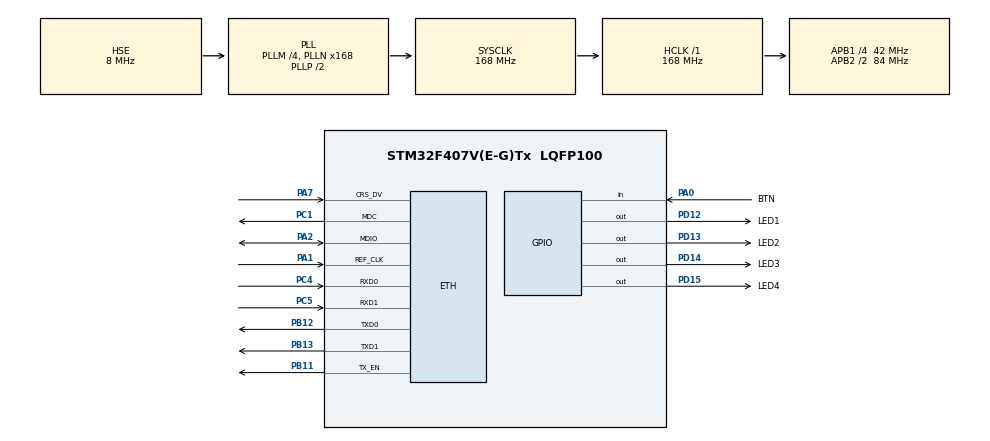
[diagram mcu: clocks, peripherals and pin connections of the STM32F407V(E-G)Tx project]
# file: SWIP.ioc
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ETH.MediaInterface=ETH_MEDIA_INTERFACE_RMII
LWIP.LWIP_NETIF_LINK_CALLBACK=1
LWIP.LWIP_NETIF_STATUS_CALLBACK=1
LWIP.Version=v2.0.0_Cube
Mcu.Family=STM32F4
Mcu.Name=STM32F407V(E-G)Tx
Mcu.Package=LQFP100
NVIC.ETH_IRQn=true\:0\:0\:false\:false\:true\:true
NVIC.PriorityGroup=NVIC_PRIORITYGROUP_4
NVIC.TIM3_IRQn=true\:0\:0\:false\:false\:true\:true
PA0-WKUP.GPIO_Label=BTN
PA0-WKUP.GPIO_PuPd=GPIO_NOPULL
PA0-WKUP.Signal=GPIO_Input
PA1.Mode=RMII
PA1.Signal=ETH_REF_CLK
PA13.Mode=Serial_Wire
PA13.Signal=SYS_JTMS-SWDIO
PA14.Mode=Serial_Wire
PA14.Signal=SYS_JTCK-SWCLK
PA2.Mode=RMII
PA2.Signal=ETH_MDIO
PA7.Mode=RMII
PA7.Signal=ETH_CRS_DV
PB11.Mode=RMII
PB11.Signal=ETH_TX_EN
PB12.Mode=RMII
PB12.Signal=ETH_TXD0
PB13.Mode=RMII
PB13.Signal=ETH_TXD1
PC1.Mode=RMII
PC1.Signal=ETH_MDC
PC4.Mode=RMII
PC4.Signal=ETH_RXD0
PC5.Mode=RMII
PC5.Signal=ETH_RXD1
PD12.GPIO_Label=LED1
PD12.Signal=GPIO_Output
PD13.GPIO_Label=LED2
PD13.Signal=GPIO_Output
PD14.GPIO_Label=LED3
PD14.Signal=GPIO_Output
PD15.GPIO_Label=LED4
PD15.Signal=GPIO_Output
PH0-OSC_IN.Mode=HSE-External-Oscillator
PH0-OSC_IN.Signal=RCC_OSC_IN
PH1-OSC_OUT.Mode=HSE-External-Oscillator
PH1-OSC_OUT.Signal=RCC_OSC_OUT
ProjectManager.HeapSize=0x200
ProjectManager.StackSize=0x400
ProjectManager.TargetToolchain=SW4STM32
RCC.48MHZClocksFreq_Value=84000000
RCC.AHBFreq_Value=168000000
RCC.APB1CLKDivider=RCC_HCLK_DIV4
RCC.APB1Freq_Value=42000000
RCC.APB1TimFreq_Value=84000000
RCC.APB2CLKDivider=RCC_HCLK_DIV2
RCC.APB2Freq_Value=84000000
RCC.APB2TimFreq_Value=168000000
RCC.CortexFreq_Value=168000000
RCC.HCLKFreq_Value=168000000
RCC.HSE_VALUE=8000000
RCC.HSI_VALUE=16000000
RCC.LSE_VALUE=32768
RCC.PLLM=4
RCC.PLLN=168
RCC.PLLSourceVirtual=RCC_PLLSOURCE_HSE
RCC.SYSCLKFreq_VALUE=168000000
RCC.SYSCLKSource=RCC_SYSCLKSOURCE_PLLCLK
RCC.VCOOutputFreq_Value=336000000
TIM3.Period=2000
TIM3.Prescaler=42000
TIM3.TIM_MasterOutputTrigger=TIM_TRGO_UPDATE
VP_LWIP_VS_Enabled.Mode=Enabled
VP_TIM3_VS_ClockSourceINT.Mode=Internal
board=SWIP

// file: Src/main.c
/**
  ******************************************************************************
  * File Name          : main.c
  * Description        : Main program body
  ******************************************************************************
  * This notice applies to any and all portions of this file
  * that are not between comment pairs USER CODE BEGIN and
  * USER CODE END. Other portions of this file, whether
  * inserted by the user or by software development tools
  * are owned by their respective copyright owners.
  *
  * Copyright (c) 2017 STMicroelectronics International N.V.
  * All rights reserved.
  *
  * Redistribution and use in source and binary forms, with or without
  * modification, are permitted, provided that the following conditions are met:
  *
  * 1. Redistribution of source code must retain the above copyright notice,
  *    this list of conditions and the following disclaimer.
  * 2. Redistributions in binary form must reproduce the above copyright notice,
  *    this list of conditions and the following disclaimer in the documentation
  *    and/or other materials provided with the distribution.
  * 3. Neither the name of STMicroelectronics nor the names of other
  *    contributors to this software may be used to endorse or promote products
  *    derived from this software without specific written permission.
  * 4. This software, including modifications and/or derivative works of this
  *    software, must execute solely and exclusively on microcontroller or
  *    microprocessor devices manufactured by or for STMicroelectronics.
  * 5. Redistribution and use of this software other than as permitted under
  *    this license is void and will automatically terminate your rights under
  *    this license.
  *
  * THIS SOFTWARE IS PROVIDED BY STMICROELECTRONICS AND CONTRIBUTORS "AS IS"
  * AND ANY EXPRESS, IMPLIED OR STATUTORY WARRANTIES, INCLUDING, BUT NOT
  * LIMITED TO, THE IMPLIED WARRANTIES OF MERCHANTABILITY, FITNESS FOR A
  * PARTICULAR PURPOSE AND NON-INFRINGEMENT OF THIRD PARTY INTELLECTUAL PROPERTY
  * RIGHTS ARE DISCLAIMED TO THE FULLEST EXTENT PERMITTED BY LAW. IN NO EVENT
  * SHALL STMICROELECTRONICS OR CONTRIBUTORS BE LIABLE FOR ANY DIRECT, INDIRECT,
  * INCIDENTAL, SPECIAL, EXEMPLARY, OR CONSEQUENTIAL DAMAGES (INCLUDING, BUT NOT
  * LIMITED TO, PROCUREMENT OF SUBSTITUTE GOODS OR SERVICES; LOSS OF USE, DATA,
  * OR PROFITS; OR BUSINESS INTERRUPTION) HOWEVER CAUSED AND ON ANY THEORY OF
  * LIABILITY, WHETHER IN CONTRACT, STRICT LIABILITY, OR TORT (INCLUDING
  * NEGLIGENCE OR OTHERWISE) ARISING IN ANY WAY OUT OF THE USE OF THIS SOFTWARE,
  * EVEN IF ADVISED OF THE POSSIBILITY OF SUCH DAMAGE.
  *
  ******************************************************************************
  */
#include "main.h"
#include "stm32f4xx_hal.h"
#include "lwip.h"
#include "tim.h"
#include "gpio.h"

/* USER CODE BEGIN Includes */
#include "config.h"
#include "app_ethernet.h"

/* USER CODE END Includes */

/* USER CODE BEGIN PV */
/* Private variables ---------------------------------------------------------*/
extern struct netif gnetif;

/* USER CODE END PV */

void SystemClock_Config(void);

/* USER CODE BEGIN PFP */
/* Private function prototypes -----------------------------------------------*/

/* USER CODE END PFP */

/* USER CODE BEGIN 0 */
int _write(int file, char *ptr, int len)
{
	int DataIdx;
	for(DataIdx = 0; DataIdx < len; DataIdx++)
	{
	   ITM_SendChar( *ptr++ );
	}
	return len;
}
/* USER CODE END 0 */

int main(void)
{

  /* USER CODE BEGIN 1 */
	cfg = (sysconf_t*) malloc(sizeof(sysconf_t));
	cfg->dhcpEnabled = 1;
	IP4_ADDR(&cfg->ipAddr, 192,168,16,199);
	IP4_ADDR(&cfg->netmask, 255,255,255,0);
	IP4_ADDR(&cfg->gateway, 192,168,16,1);
  /* USER CODE END 1 */

  /* MCU Configuration----------------------------------------------------------*/

  /* Reset of all peripherals, Initializes the Flash interface and the Systick. */
  HAL_Init();

  /* Configure the system clock */
  SystemClock_Config();

  /* Initialize all configured peripherals */
  MX_GPIO_Init();
  MX_TIM3_Init();
  MX_LWIP_Init();

  /* USER CODE BEGIN 2 */
  User_notification(&gnetif);
  int btnPress = 0;

  /* USER CODE END 2 */

  /* Infinite loop */
  while (1)
  {

  /* USER CODE BEGIN 3 */
	  if((BTN_GPIO_Port->IDR & BTN_Pin) == 1)
	  {
		  if(btnPress == 0)
		  {
			  btnPress = 1;
			  printf("btn Pressed!\n");
			  cfg->dhcpEnabled = !cfg->dhcpEnabled;
			  ethernetif_notify_conn_changed(&gnetif);
		  }
	  }
	  else
	  {
		  btnPress = 0;
	  }

		ethernetif_set_link(&gnetif);

		MX_LWIP_Process();

		DHCP_Periodic_Handle(&gnetif);

  }
  /* USER CODE END 3 */

}

/** System Clock Configuration
*/
void SystemClock_Config(void)
{

  RCC_OscInitTypeDef RCC_OscInitStruct;
  RCC_ClkInitTypeDef RCC_ClkInitStruct;

    /**Configure the main internal regulator output voltage
    */
  __HAL_RCC_PWR_CLK_ENABLE();

  __HAL_PWR_VOLTAGESCALING_CONFIG(PWR_REGULATOR_VOLTAGE_SCALE1);

    /**Initializes the CPU, AHB and APB busses clocks
    */
  RCC_OscInitStruct.OscillatorType = RCC_OSCILLATORTYPE_HSE;
  RCC_OscInitStruct.HSEState = RCC_HSE_ON;
  RCC_OscInitStruct.PLL.PLLState = RCC_PLL_ON;
  RCC_OscInitStruct.PLL.PLLSource = RCC_PLLSOURCE_HSE;
  RCC_OscInitStruct.PLL.PLLM = 4;
  RCC_OscInitStruct.PLL.PLLN = 168;
  RCC_OscInitStruct.PLL.PLLP = RCC_PLLP_DIV2;
  RCC_OscInitStruct.PLL.PLLQ = 4;
  if (HAL_RCC_OscConfig(&RCC_OscInitStruct) != HAL_OK)
  {
    _Error_Handler(__FILE__, __LINE__);
  }

    /**Initializes the CPU, AHB and APB busses clocks
    */
  RCC_ClkInitStruct.ClockType = RCC_CLOCKTYPE_HCLK|RCC_CLOCKTYPE_SYSCLK
                              |RCC_CLOCKTYPE_PCLK1|RCC_CLOCKTYPE_PCLK2;
  RCC_ClkInitStruct.SYSCLKSource = RCC_SYSCLKSOURCE_PLLCLK;
  RCC_ClkInitStruct.AHBCLKDivider = RCC_SYSCLK_DIV1;
  RCC_ClkInitStruct.APB1CLKDivider = RCC_HCLK_DIV4;
  RCC_ClkInitStruct.APB2CLKDivider = RCC_HCLK_DIV2;

  if (HAL_RCC_ClockConfig(&RCC_ClkInitStruct, FLASH_LATENCY_5) != HAL_OK)
  {
    _Error_Handler(__FILE__, __LINE__);
  }

    /**Configure the Systick interrupt time
    */
  HAL_SYSTICK_Config(HAL_RCC_GetHCLKFreq()/1000);

    /**Configure the Systick
    */
  HAL_SYSTICK_CLKSourceConfig(SYSTICK_CLKSOURCE_HCLK);

  /* SysTick_IRQn interrupt configuration */
  HAL_NVIC_SetPriority(SysTick_IRQn, 0, 0);
}

/* USER CODE BEGIN 4 */
/**
  * @brief  Configurates the network interface
  * @param  None
  * @retval None
  */

/* USER CODE END 4 */

void _Error_Handler(char * file, int line)
{
  while(1)
  {
  }
}

/************************ (C) COPYRIGHT STMicroelectronics *****END OF FILE****/
